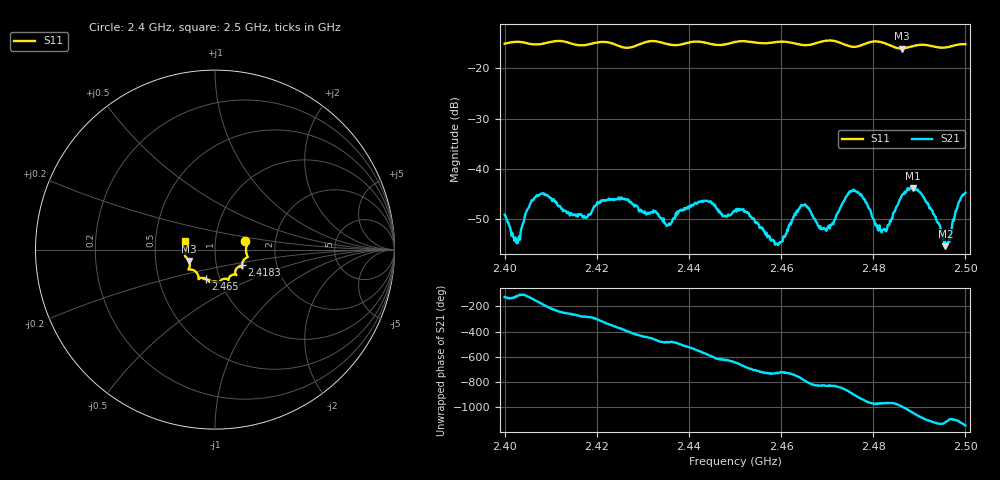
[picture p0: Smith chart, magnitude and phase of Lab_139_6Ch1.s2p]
# Hz S RI R 50
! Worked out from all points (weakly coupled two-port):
!   601 points, 2.4 GHz to 2.5 GHz, reference 50 ohm
!   highest |S21| = -43.78 dB at 2.4887 GHz (marker M1); lowest = -55.4 dB at 2.4957 GHz (marker M2)
!   lowest |S11| = -16.1 dB at 2.4862 GHz (marker M3), VSWR 1.37, Z = 37.2 - j4.81 ohm
!   |S11| at or under -10 dB: start of sweep to end of sweep
!   S12 and S22 are empty: the file has one direction only
!   S11 on the Smith chart (normalised r, x): 2.4 GHz: 1.40, +0.13; 2.4183 GHz: 1.33, -0.24; 2.465 GHz: 0.86, -0.29; 2.5 GHz: 0.71, +0.07
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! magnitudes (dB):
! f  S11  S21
! 2.4 GHz  -15.1  -49.1
! 2.4025 GHz  -14.7  -54.6
! 2.4053 GHz  -15.1  -47.5
! 2.4078 GHz  -15.2  -45.0
! 2.4167 GHz  -15.4  -49.0
! 2.4183 GHz  -15.2  -49.1
! 2.4252 GHz  -15.7  -45.9
! 2.4333 GHz  -14.7  -48.9
! 2.4357 GHz  -15.3  -50.8
! 2.4437 GHz  -14.9  -46.4
! 2.45 GHz  -14.8  -48.4
! 2.4592 GHz  -14.8  -54.8
! 2.465 GHz  -15.4  -47.3
! 2.4667 GHz  -15.3  -49.1
! 2.47 GHz  -14.5  -51.8
! 2.4758 GHz  -15.7  -44.4
! 2.4813 GHz  -14.7  -51.2
! 2.4833 GHz  -15.3  -51.2
! 2.4862 GHz  -16.1  -45.3
! 2.4887 GHz  -15.6  -43.8
! 2.4957 GHz  -15.9  -55.4
! 2.5 GHz  -15.2  -44.7
